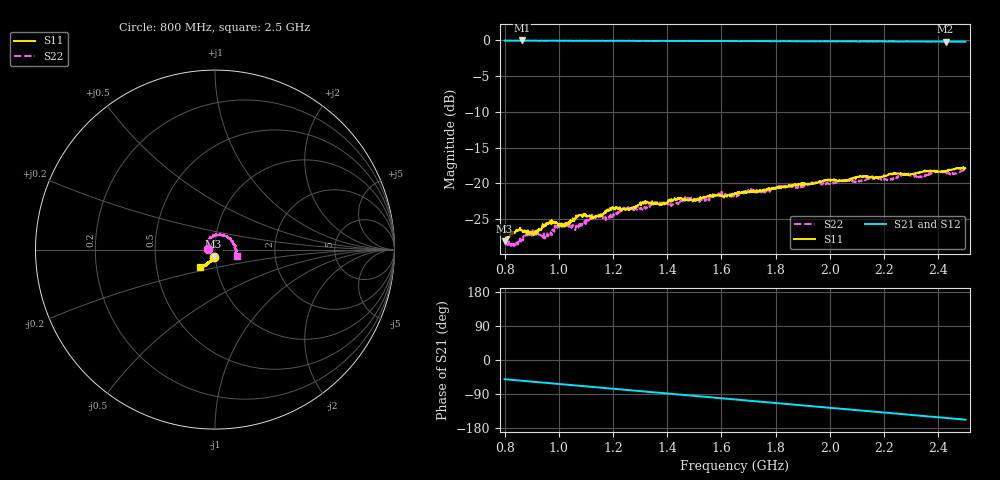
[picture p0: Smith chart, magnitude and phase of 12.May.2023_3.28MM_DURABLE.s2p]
!Keysight Technologies N9950B: A.12.38
!Date: Friday, 12 May 2023 13:51:04
!Timezone: (UTC-06:00) Central Time (US & Canada)
!Model: N9950B
!Serial: MY61131330
!GPS Latitude:
!GPS Longitude:
!GPS TimeStamp: 0001-01-01 00:00:00Z
!GPS Seconds Since Last Read: 0
!CHECKSUM:0968723392
!Correction: S11(ON U)S21(ON U)S12(ON U)S22(ON U)
!S2P File: Measurements:S11,S21,S12,S22:
# Hz S DB R 50
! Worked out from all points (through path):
!   1001 points, 800 MHz to 2.5 GHz, reference 50 ohm
!   highest |S21| = -0.06 dB at 864.6 MHz (marker M1); lowest = -0.2 dB at 2.427 GHz (marker M2)
!   group delay of S21, straight-line fit = 174 ps
!   lowest |S11| = -28.1 dB at 800 MHz (marker M3), VSWR 1.08, Z = 49.1 - j3.8 ohm
!   |S11| at or under -10 dB: start of sweep to end of sweep
!   |S22| runs from -28.8 to -17.9 dB; largest |S21 - S12| = 0.0057
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8e8  -28.06 -101.7  -0.08 -50.7  -0.10 -50.6  -28.04 176.0
8.323e8  -26.85 -103.1  -0.08 -52.7  -0.09 -52.6  -28.28 170.8
8.646e8  -26.55 -102.5  -0.06 -54.7  -0.10 -54.7  -27.97 162.3
9.088e8  -26.89 -104.2  -0.09 -57.6  -0.09 -57.5  -26.72 162.0
9.564e8  -25.71 -104.0  -0.10 -60.4  -0.11 -60.5  -27.19 154.2
1.0074e9  -25.85 -105.4  -0.10 -63.8  -0.10 -63.7  -25.87 146.8
1.0635e9  -24.49 -104.2  -0.11 -67.2  -0.10 -67.2  -26.11 141.2
1.0839e9  -24.46 -107.9  -0.12 -68.5  -0.13 -68.6  -25.70 137.9
1.1264e9  -24.94 -107.6  -0.11 -71.2  -0.12 -71.3  -24.67 133.6
1.2029e9  -23.56 -107.7  -0.12 -76.0  -0.13 -76.1  -24.40 124.1
1.242e9  -23.50 -110.7  -0.11 -78.5  -0.12 -78.4  -23.52 120.2
1.3168e9  -22.75 -111.5  -0.13 -83.2  -0.14 -83.2  -23.29 110.6
1.3678e9  -22.94 -112.2  -0.12 -86.4  -0.13 -86.3  -22.64 111.5
1.4222e9  -22.31 -113.5  -0.14 -89.7  -0.15 -89.9  -22.92 104.1
1.5922e9  -21.75 -118.0  -0.15 -100.5  -0.14 -100.5  -21.41 85.4
1.65e9  -21.36 -117.3  -0.15 -104.2  -0.16 -104.1  -21.79 78.9
1.9339e9  -19.88 -121.6  -0.17 -121.9  -0.18 -121.9  -19.81 48.3
2.2178e9  -18.70 -126.0  -0.20 -139.8  -0.21 -139.8  -19.52 18.2
2.2807e9  -18.79 -127.2  -0.21 -143.6  -0.20 -143.8  -18.80 9.9
2.3351e9  -18.44 -127.1  -0.21 -147.2  -0.22 -147.1  -19.00 4.9
2.4269e9  -18.37 -129.8  -0.24 -152.9  -0.22 -152.9  -18.56 -4.7
2.5e9  -17.89 -132.0  -0.22 -157.4  -0.23 -157.5  -17.93 -15.4
